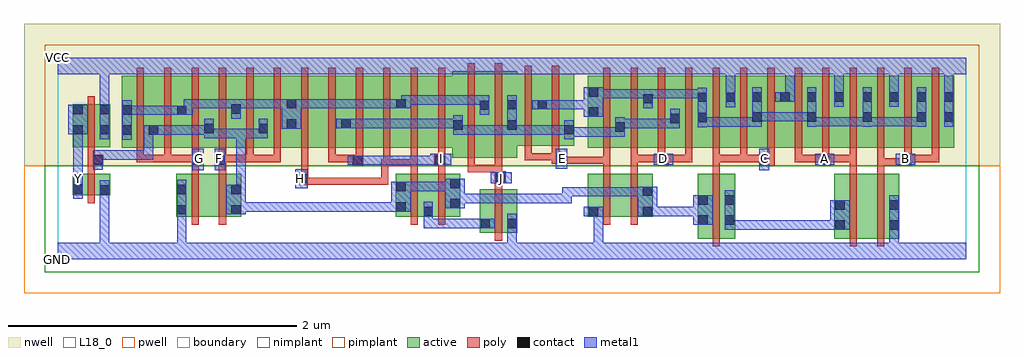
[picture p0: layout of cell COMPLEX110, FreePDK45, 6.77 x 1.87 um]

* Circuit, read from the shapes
.subckt COMPLEX110 A B C D E F G GND H I J VCC Y
M1 GND n1 Y VSUBS nfet w=0.15u l=0.05u
M2 n2 G GND VSUBS nfet w=0.3u l=0.05u
M3 n1 F n2 VSUBS nfet w=0.3u l=0.05u
M4 n3 H n1 VSUBS nfet w=0.3u l=0.05u
M5 n1 I n3 VSUBS nfet w=0.3u l=0.05u
M6 GND J n3 VSUBS nfet w=0.3u l=0.05u
M7 n4 E GND VSUBS nfet w=0.3u l=0.05u
M8 n1 D n4 VSUBS nfet w=0.3u l=0.05u
M9 n5 C n1 VSUBS nfet w=0.45u l=0.05u
M10 n6 A n5 VSUBS nfet w=0.45u l=0.05u
M11 GND B n6 VSUBS nfet w=0.45u l=0.05u
M12 VCC n1 Y n7 pfet w=0.3u l=0.05u
M13 n1 G n8 n7 pfet w=0.5u l=0.05u m=3
M14 n8 F n1 n7 pfet w=0.5u l=0.05u m=3
M15 n9 H n8 n7 pfet w=0.5u l=0.05u
M16 n10 I n9 n7 pfet w=0.5u l=0.05u
M17 n11 I n10 n7 pfet w=0.5u l=0.05u
M18 n8 H n11 n7 pfet w=0.5u l=0.05u
M19 n12 H n8 n7 pfet w=0.5u l=0.05u
M20 n10 I n12 n7 pfet w=0.5u l=0.05u
M21 n8 J n10 n7 pfet w=0.6u l=0.05u m=2
M22 n13 E n10 n7 pfet w=0.5u l=0.05u m=3
M23 n13 D n10 n7 pfet w=0.5u l=0.05u m=3
M24 VCC C n13 n7 pfet w=0.5u l=0.05u m=3
M25 n13 A VCC n7 pfet w=0.5u l=0.05u m=3
M26 VCC B n13 n7 pfet w=0.5u l=0.05u m=3
.ends

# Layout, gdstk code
import gdstk
lib = gdstk.Library(unit=1e-6, precision=1e-09)
def R(c, l, rs):  # rectangles x0, y0, x1, y1
    for r in rs: c.add(gdstk.rectangle(r[:2], r[2:], *l))
def A(c, l, x, y, w, h, nx, ny, dx, dy):  # array of equal rectangles
    R(c, l, [(x+i*dx, y+j*dy, x+i*dx+w, y+j*dy+h) for i in range(nx) for j in range(ny)])
active = (1, 0)
pwell = (2, 0)
nwell = (3, 0)
nimplant = (4, 0)
pimplant = (5, 0)
poly = (9, 0)
contact = (10, 0)
metal1 = (11, 0)
L18_0 = (18, 0)
boundary = (235, 0)

complex110 = lib.new_cell('COMPLEX110')
A(complex110, active, 1.582, 0.775, 0.225, 0.5, 3, 1, 0.38, 0)
A(complex110, active, 4.432, 0.807, 0.075, 0.393, 3, 1, 0.38, 0)
R(complex110, active, [(4.437,0.145,4.512,0.595), (4.437,0.145,4.697,0.595), (4.622,0.145,4.697,0.595), (5.387,0.145,5.612,0.595), (5.387,0.145,5.492,0.595), (5.612,0.145,5.837,0.595), (5.762,0.145,5.837,0.595), (2.927,0.185,3.187,0.485), (3.112,0.185,3.187,0.485), (2.927,0.212,3.002,0.485), (0.822,0.295,0.897,0.595), (0.822,0.295,1.047,0.595), (1.047,0.295,1.272,0.595), (1.197,0.295,1.272,0.595), (2.342,0.295,2.417,0.595), (2.342,0.295,2.607,0.595), (2.532,0.295,2.792,0.595), (2.532,0.295,2.607,0.497), (2.717,0.295,2.792,0.595), (3.677,0.295,3.752,0.595), (3.677,0.295,3.902,0.595), (3.902,0.295,4.127,0.595), (4.052,0.295,4.127,0.595), (0.102,0.445,0.177,0.595), (0.102,0.445,0.362,0.595), (0.287,0.445,0.362,0.595), (2.737,0.705,2.997,1.305), (2.922,0.705,3.187,1.305), (2.922,0.707,2.997,1.2), (0.442,0.775,0.702,1.275), (0.442,0.775,0.517,1.2), (0.627,0.775,0.897,1.275), (0.627,0.775,0.702,1.07), (0.822,0.775,1.087,1.275), (1.012,0.775,1.272,1.275), (1.197,0.775,1.462,1.275), (1.387,0.775,1.657,1.275), (1.807,0.775,2.037,1.275), (2.187,0.775,2.417,1.275), (2.567,0.775,2.812,1.275), (3.677,0.775,3.937,1.275), (3.677,0.775,3.752,1.2), (3.862,0.775,4.132,1.275), (4.057,0.775,4.317,1.275), (4.242,0.775,4.507,1.275), (4.432,0.775,4.702,1.275), (4.627,0.775,4.887,1.275), (4.812,0.775,5.082,1.275), (5.007,0.775,5.267,1.275), (5.192,0.775,5.457,1.275), (5.382,0.775,5.652,1.275), (5.577,0.775,5.837,1.275), (5.762,0.775,6.027,1.275), (5.952,0.775,6.217,1.275), (6.142,0.775,6.217,1.205), (0.102,0.777,0.177,1.077), (0.102,0.777,0.362,1.077), (0.287,0.777,0.362,1.077), (3.112,0.787,3.397,1.287), (3.322,0.787,3.582,1.287), (3.507,0.787,3.582,1.07), (0.822,0.807,0.897,1.2), (1.012,0.807,1.087,1.07), (1.197,0.807,1.272,1.2), (1.387,0.807,1.462,1.07), (1.582,0.807,1.657,1.2), (1.962,0.807,2.037,1.07), (2.342,0.807,2.417,1.2), (2.737,0.807,2.812,1.07), (3.112,0.807,3.187,1.2), (3.322,0.807,3.397,1.2), (3.862,0.807,3.937,1.07), (4.057,0.807,4.132,1.2), (4.242,0.807,4.317,1.07), (4.627,0.807,4.702,1.205), (5.007,0.807,5.082,1.205), (5.382,0.807,5.457,1.205), (5.577,0.807,5.652,1.2), (5.762,0.807,5.837,1.205), (5.952,0.807,6.027,1.2)])
R(complex110, pwell, [(-0.235,-0.235,6.535,0.65)])
R(complex110, nwell, [(-0.235,0.65,6.535,1.635)])
R(complex110, nimplant, [(-0.09,-0.09,6.39,0.65)])
R(complex110, pimplant, [(-0.09,0.65,6.39,1.49)])
A(complex110, poly, 0.547, 0.675, 0.05, 0.095, 6, 1, 0.19, 0)
A(complex110, poly, 3.972, 0.675, 0.05, 0.095, 9, 1, 0.19, 0)
A(complex110, poly, 0.547, 0.72, 0.05, 0.61, 12, 1, 0.19, 0)
A(complex110, poly, 3.782, 0.72, 0.05, 0.61, 13, 1, 0.19, 0)
R(complex110, poly, [(4.542,0.09,4.592,0.65), (5.492,0.09,5.542,0.65), (5.682,0.09,5.732,0.65), (3.032,0.13,3.082,0.54), (0.927,0.24,0.977,0.65), (1.117,0.24,1.167,0.65), (2.447,0.24,2.497,0.65), (2.637,0.24,2.687,0.65), (3.782,0.24,3.832,0.65), (3.972,0.24,4.022,0.65), (0.207,0.39,0.257,0.65), (3.032,0.49,3.082,0.585), (1.687,0.517,1.87,0.567), (1.687,0.517,1.737,0.572), (1.82,0.517,1.87,0.567), (1.82,0.517,1.87,0.567), (1.82,0.517,1.87,0.567), (1.82,0.517,2.16,0.567), (2.11,0.517,2.16,0.567), (2.11,0.517,2.16,0.567), (2.11,0.517,2.16,0.567), (2.11,0.517,2.292,0.567), (2.242,0.517,2.292,0.567), (2.242,0.517,2.292,0.567), (2.242,0.517,2.292,0.567), (2.242,0.517,2.292,0.695), (1.662,0.522,1.737,0.597), (1.687,0.522,1.737,0.572), (3.032,0.535,3.107,0.61), (1.687,0.547,1.737,0.77), (3.032,0.56,3.082,0.655), (0.207,0.6,0.257,0.702), (0.927,0.6,0.977,0.7), (1.117,0.6,1.167,0.7), (2.447,0.6,2.497,0.695), (2.637,0.6,2.687,0.7), (3.782,0.6,3.832,0.712), (3.972,0.6,4.022,0.725), (4.542,0.6,4.592,0.725), (5.492,0.6,5.542,0.725), (5.682,0.6,5.732,0.7), (2.842,0.605,2.892,0.7), (2.842,0.605,2.892,0.655), (2.842,0.605,2.892,0.655), (2.842,0.605,2.892,0.655), (2.842,0.605,3.082,0.655), (3.032,0.605,3.082,0.7), (3.032,0.605,3.082,0.655), (2.242,0.645,2.307,0.695), (2.257,0.645,2.497,0.695), (2.257,0.645,2.307,0.77), (2.447,0.645,2.497,0.695), (2.447,0.645,2.497,0.695), (2.447,0.645,2.497,0.695), (2.447,0.645,2.497,0.695), (2.447,0.645,2.497,0.695), (2.447,0.645,2.497,0.77), (0.927,0.65,1.002,0.725), (1.092,0.65,1.167,0.725), (2.042,0.65,2.117,0.725), (2.612,0.65,2.687,0.725), (2.637,0.65,2.687,0.7), (2.637,0.65,2.687,0.7), (2.842,0.65,2.892,1.36), (3.032,0.65,3.082,1.36), (4.162,0.65,4.237,0.725), (4.865,0.65,4.972,0.725), (5.282,0.65,5.357,0.725), (5.682,0.65,5.732,0.7), (5.682,0.65,5.732,0.7), (5.682,0.65,5.732,0.7), (5.682,0.65,5.892,0.7), (5.682,0.65,5.732,0.77), (5.842,0.65,5.892,0.7), (5.842,0.65,5.892,0.7), (5.842,0.65,5.922,0.725), (0.207,0.652,0.257,0.702), (0.207,0.652,0.257,0.702), (0.207,0.652,0.315,0.727), (3.427,0.662,3.525,0.737), (3.475,0.662,3.7,0.712), (3.65,0.662,3.7,0.712), (3.65,0.662,3.7,0.712), (3.65,0.662,3.7,0.712), (3.65,0.662,3.832,0.712), (3.782,0.662,3.832,0.712), (3.782,0.662,3.832,0.712), (3.782,0.662,3.832,0.712), (3.782,0.662,3.832,0.77), (0.547,0.675,0.597,0.725), (0.547,0.675,0.597,0.725), (0.547,0.675,0.597,0.725), (0.547,0.675,0.787,0.725), (0.737,0.675,0.787,0.725), (0.737,0.675,0.787,0.725), (0.737,0.675,0.787,0.725), (0.737,0.675,0.977,0.725), (0.927,0.675,0.977,0.725), (0.927,0.675,0.977,0.725), (1.117,0.675,1.167,0.725), (1.117,0.675,1.167,0.725), (1.117,0.675,1.357,0.725), (1.307,0.675,1.357,0.725), (1.307,0.675,1.357,0.725), (1.307,0.675,1.357,0.725), (1.307,0.675,1.547,0.725), (1.497,0.675,1.547,0.725), (1.497,0.675,1.547,0.725), (1.497,0.675,1.547,0.725), (1.877,0.675,1.927,0.77), (1.877,0.675,1.927,0.725), (1.877,0.675,2.092,0.725), (2.042,0.675,2.092,0.725), (2.042,0.675,2.092,0.725), (2.067,0.675,2.117,0.77), (2.637,0.675,2.687,0.77), (3.972,0.675,4.022,0.725), (3.972,0.675,4.022,0.725), (3.972,0.675,4.022,0.725), (3.972,0.675,4.022,0.725), (3.972,0.675,4.022,0.725), (3.972,0.675,4.212,0.725), (4.187,0.675,4.237,0.725), (4.187,0.675,4.237,0.725), (4.187,0.675,4.402,0.725), (4.352,0.675,4.402,0.725), (4.542,0.675,4.592,0.725), (4.542,0.675,4.592,0.725), (4.542,0.675,4.592,0.725), (4.542,0.675,4.782,0.725), (4.732,0.675,4.782,0.725), (4.732,0.675,4.782,0.725), (4.732,0.675,4.782,0.725), (4.732,0.675,4.915,0.725), (4.865,0.675,4.915,0.725), (4.865,0.675,4.915,0.725), (5.112,0.675,5.162,0.725), (5.112,0.675,5.332,0.725), (5.282,0.675,5.332,0.725), (5.282,0.675,5.332,0.725), (5.307,0.675,5.542,0.725), (5.492,0.675,5.542,0.725), (5.492,0.675,5.542,0.725), (5.492,0.675,5.542,0.725), (5.492,0.675,5.542,0.725), (5.492,0.675,5.542,0.725), (5.872,0.675,5.922,0.77), (5.872,0.675,6.112,0.725), (6.062,0.675,6.112,0.77), (6.062,0.675,6.112,0.725), (6.062,0.675,6.112,0.725), (6.062,0.675,6.112,0.725), (0.207,0.677,0.257,0.772), (3.237,0.687,3.287,0.782), (3.237,0.687,3.287,0.737), (3.237,0.687,3.477,0.737), (3.427,0.687,3.477,0.782), (3.427,0.687,3.477,0.737), (3.427,0.687,3.477,0.737), (0.207,0.722,0.257,1.132), (3.237,0.732,3.287,1.342), (3.427,0.732,3.477,1.342)])
A(complex110, contact, 5.767, 1.095, 0.065, 0.065, 3, 1, 0.19, 0)
R(complex110, contact, [(5.392,0.205,5.457,0.27), (5.767,0.205,5.832,0.27), (2.932,0.217,2.997,0.282), (3.117,0.217,3.182,0.282), (4.442,0.24,4.507,0.305), (4.627,0.24,4.692,0.305), (2.537,0.3,2.602,0.365), (3.682,0.3,3.747,0.365), (4.057,0.3,4.122,0.365), (0.827,0.312,0.892,0.377), (1.202,0.312,1.267,0.377), (2.347,0.332,2.412,0.397), (5.392,0.345,5.457,0.41), (5.767,0.345,5.832,0.41), (2.722,0.355,2.787,0.42), (4.442,0.38,4.507,0.445), (4.627,0.38,4.692,0.445), (4.057,0.44,4.122,0.505), (0.292,0.45,0.357,0.515), (0.827,0.452,0.892,0.517), (1.202,0.452,1.267,0.517), (0.107,0.457,0.172,0.522), (2.347,0.472,2.412,0.537), (2.722,0.495,2.787,0.56), (1.667,0.527,1.732,0.592), (3.037,0.54,3.102,0.605), (0.932,0.655,0.997,0.72), (1.097,0.655,1.162,0.72), (2.047,0.655,2.112,0.72), (2.617,0.655,2.682,0.72), (4.167,0.655,4.232,0.72), (4.87,0.655,4.935,0.72), (5.287,0.655,5.352,0.72), (5.847,0.655,5.912,0.72), (0.245,0.657,0.31,0.722), (3.455,0.667,3.52,0.732), (0.447,0.865,0.512,0.93), (0.632,0.865,0.697,0.93), (0.107,0.867,0.172,0.932), (0.292,0.867,0.357,0.932), (3.512,0.867,3.577,0.932), (1.017,0.875,1.082,0.94), (1.392,0.875,1.457,0.94), (3.867,0.887,3.932,0.952), (2.742,0.9,2.807,0.965), (3.117,0.9,3.182,0.965), (1.587,0.907,1.652,0.972), (1.967,0.91,2.032,0.975), (4.247,0.945,4.312,1.01), (4.437,0.952,4.502,1.017), (4.817,0.955,4.882,1.02), (5.197,0.955,5.262,1.02), (5.582,0.955,5.647,1.02), (5.957,0.955,6.022,1.02), (6.147,0.955,6.212,1.02), (3.682,0.99,3.747,1.055), (0.827,1.002,0.892,1.067), (0.447,1.005,0.512,1.07), (0.107,1.007,0.172,1.072), (0.292,1.007,0.357,1.072), (1.202,1.012,1.267,1.077), (2.927,1.037,2.992,1.102), (3.117,1.04,3.182,1.105), (3.327,1.04,3.392,1.105), (1.587,1.047,1.652,1.112), (2.347,1.047,2.412,1.112), (4.062,1.082,4.127,1.147), (4.437,1.092,4.502,1.157), (4.632,1.092,4.697,1.157), (4.817,1.095,4.882,1.16), (5.012,1.095,5.077,1.16), (5.197,1.095,5.262,1.16), (5.387,1.095,5.452,1.16), (5.582,1.095,5.647,1.16), (3.682,1.13,3.747,1.195)])
A(complex110, metal1, 5.387, 1.13, 0.065, 0.22, 3, 1, 0.38, 0)
R(complex110, metal1, [(0,0,6.3,0.115), (0.292,0.05,0.357,0.115), (0.292,0.05,0.357,0.115), (0.292,0.05,0.357,0.48), (0.827,0.05,0.892,0.115), (0.827,0.05,0.892,0.115), (0.827,0.05,0.892,0.342), (3.117,0.05,3.182,0.247), (3.717,0.05,3.782,0.115), (3.717,0.05,3.782,0.115), (3.717,0.05,3.782,0.365), (5.767,0.05,5.832,0.235), (5.767,0.17,5.832,0.445), (3.117,0.182,3.182,0.247), (3.117,0.182,3.182,0.247), (3.117,0.182,3.182,0.317), (4.627,0.205,4.692,0.48), (4.627,0.205,4.777,0.27), (4.712,0.205,4.777,0.27), (4.712,0.205,4.905,0.27), (4.84,0.205,4.905,0.27), (4.84,0.205,4.915,0.27), (4.85,0.205,4.915,0.27), (4.85,0.205,5.072,0.27), (5.007,0.205,5.072,0.27), (5.007,0.205,5.072,0.27), (5.007,0.205,5.072,0.27), (5.007,0.205,5.285,0.27), (5.22,0.205,5.285,0.27), (5.22,0.205,5.372,0.27), (5.307,0.205,5.372,0.27), (5.307,0.205,5.422,0.27), (5.357,0.205,5.492,0.41), (2.537,0.217,2.825,0.282), (2.537,0.217,2.602,0.33), (2.76,0.217,2.825,0.282), (2.76,0.217,2.825,0.282), (2.76,0.217,2.825,0.282), (2.76,0.217,2.962,0.282), (2.897,0.217,3.032,0.282), (4.407,0.24,4.542,0.445), (2.537,0.265,2.602,0.33), (2.537,0.265,2.602,0.4), (0.827,0.277,0.892,0.552), (3.647,0.3,3.782,0.365), (4.022,0.3,4.157,0.505), (4.092,0.3,4.295,0.365), (4.23,0.3,4.295,0.365), (4.23,0.3,4.295,0.365), (4.23,0.3,4.295,0.365), (4.23,0.3,4.45,0.365), (4.385,0.3,4.45,0.365), (4.385,0.3,4.472,0.365), (1.167,0.312,1.302,0.517), (1.237,0.332,1.412,0.397), (1.347,0.332,1.412,0.397), (1.347,0.332,1.44,0.397), (1.375,0.332,1.44,0.397), (1.375,0.332,1.55,0.397), (1.485,0.332,1.55,0.397), (1.485,0.332,1.722,0.397), (1.657,0.332,1.722,0.397), (1.657,0.332,1.722,0.397), (1.657,0.332,1.722,0.397), (1.657,0.332,1.86,0.397), (1.795,0.332,1.86,0.397), (1.795,0.332,1.86,0.397), (1.795,0.332,1.86,0.397), (1.795,0.332,1.997,0.397), (1.932,0.332,1.997,0.397), (1.932,0.332,1.997,0.397), (1.932,0.332,1.997,0.397), (1.932,0.332,2.205,0.397), (2.14,0.332,2.205,0.397), (2.14,0.332,2.285,0.397), (2.22,0.332,2.285,0.397), (2.22,0.332,2.377,0.397), (2.312,0.332,2.447,0.537), (2.687,0.355,2.822,0.56), (2.757,0.39,2.822,0.455), (2.757,0.39,2.822,0.455), (2.757,0.39,3.045,0.455), (2.98,0.39,3.045,0.455), (2.98,0.39,3.045,0.455), (2.98,0.39,3.045,0.455), (2.98,0.39,3.22,0.455), (3.155,0.39,3.22,0.455), (3.155,0.39,3.22,0.455), (3.155,0.39,3.22,0.455), (3.155,0.39,3.357,0.455), (3.292,0.39,3.357,0.455), (3.292,0.39,3.565,0.455), (3.5,0.39,3.565,0.455), (3.5,0.39,3.565,0.455), (3.5,0.39,3.565,0.502), (0.292,0.415,0.357,0.48), (0.292,0.415,0.357,0.48), (0.292,0.415,0.357,0.55), (0.107,0.422,0.172,0.557), (3.5,0.437,3.782,0.502), (3.717,0.437,3.782,0.502), (3.717,0.437,3.782,0.502), (3.717,0.437,3.782,0.502), (3.717,0.437,3.92,0.502), (3.855,0.437,3.92,0.502), (3.855,0.437,3.92,0.502), (3.855,0.437,3.92,0.502), (3.855,0.437,4.087,0.502), (1.237,0.452,1.302,0.905), (2.382,0.472,2.447,0.537), (2.382,0.472,2.447,0.537), (2.382,0.472,2.585,0.537), (2.52,0.472,2.585,0.537), (2.52,0.472,2.585,0.537), (2.52,0.472,2.585,0.537), (2.52,0.472,2.752,0.537), (0.107,0.492,0.172,0.557), (0.107,0.492,0.172,0.557), (0.107,0.492,0.172,0.557), (0.107,0.492,0.172,0.627), (1.647,0.492,1.732,0.627), (3.002,0.527,3.147,0.605), (0.107,0.562,0.172,0.932), (0.932,0.62,1.012,0.767), (1.087,0.62,1.162,0.767), (4.865,0.62,4.935,0.767), (0.245,0.622,0.31,0.757), (3.455,0.63,3.532,0.767), (2.012,0.655,2.147,0.72), (2.082,0.655,2.24,0.72), (2.175,0.655,2.24,0.72), (2.175,0.655,2.285,0.72), (2.22,0.655,2.285,0.72), (2.22,0.655,2.447,0.72), (2.382,0.655,2.447,0.72), (2.382,0.655,2.447,0.72), (2.382,0.655,2.447,0.72), (2.382,0.655,2.585,0.72), (2.52,0.655,2.585,0.72), (2.52,0.655,2.647,0.72), (2.582,0.655,2.727,0.732), (4.132,0.655,4.267,0.732), (5.252,0.655,5.387,0.732), (5.812,0.655,5.947,0.732), (0.245,0.692,0.447,0.757), (0.382,0.692,0.447,0.757), (0.382,0.692,0.447,0.757), (0.382,0.692,0.447,0.757), (0.382,0.692,0.662,0.757), (0.597,0.692,0.662,0.757), (0.597,0.692,0.662,0.757), (0.597,0.692,0.662,0.757), (0.597,0.692,0.662,0.93), (0.447,0.83,0.512,1.105), (0.292,0.832,0.357,1.107), (3.512,0.832,3.577,0.967), (1.017,0.84,1.082,0.905), (1.017,0.84,1.082,0.905), (1.017,0.84,1.082,0.975), (1.017,0.84,1.302,0.905), (1.237,0.84,1.302,0.905), (1.237,0.84,1.302,0.905), (1.237,0.84,1.302,0.905), (1.237,0.84,1.302,0.905), (1.237,0.84,1.302,0.905), (1.237,0.84,1.302,0.905), (1.237,0.84,1.302,0.905), (1.237,0.84,1.405,0.905), (1.34,0.84,1.405,0.905), (1.34,0.84,1.457,0.905), (1.392,0.84,1.457,0.975), (3.512,0.852,3.715,0.917), (3.65,0.852,3.715,0.917), (3.65,0.852,3.715,0.917), (3.65,0.852,3.715,0.917), (3.65,0.852,3.932,0.917), (3.867,0.852,3.932,0.987), (0.597,0.865,0.732,0.93), (0.655,0.865,0.72,0.93), (0.655,0.865,0.72,0.93), (0.655,0.865,0.8,0.93), (0.735,0.865,0.8,0.93), (0.735,0.865,0.945,0.93), (0.88,0.865,0.945,0.93), (0.88,0.865,0.945,0.93), (0.88,0.865,0.945,0.93), (0.88,0.865,1.082,0.93), (2.742,0.865,2.807,0.93), (2.742,0.865,2.807,0.93), (2.742,0.865,2.807,1), (2.742,0.865,3.045,0.93), (2.98,0.865,3.045,0.93), (2.98,0.865,3.045,0.93), (2.98,0.865,3.045,0.93), (2.98,0.865,3.182,0.93), (3.117,0.865,3.182,1.14), (3.117,0.865,3.182,0.93), (3.117,0.865,3.182,0.93), (3.117,0.865,3.427,0.93), (3.362,0.865,3.427,0.93), (3.362,0.865,3.427,0.93), (3.362,0.865,3.427,0.93), (3.362,0.865,3.577,0.93), (0.072,0.867,0.207,1.072), (1.552,0.907,1.687,1.112), (1.932,0.91,2.067,0.975), (2.002,0.91,2.067,0.975), (2.002,0.91,2.067,0.975), (2.002,0.91,2.24,0.975), (2.175,0.91,2.24,0.975), (2.175,0.91,2.285,0.975), (2.22,0.91,2.285,0.975), (2.22,0.91,2.422,0.975), (2.357,0.91,2.422,0.975), (2.357,0.91,2.422,0.975), (2.357,0.91,2.422,0.975), (2.357,0.91,2.585,0.975), (2.52,0.91,2.585,0.975), (2.52,0.91,2.585,0.975), (2.52,0.91,2.585,0.975), (2.52,0.91,2.807,0.975), (3.867,0.91,3.932,0.975), (3.867,0.91,3.932,0.975), (3.867,0.91,4.07,0.975), (4.005,0.91,4.07,0.975), (4.005,0.91,4.312,0.975), (4.247,0.91,4.312,0.975), (4.247,0.91,4.312,0.975), (4.247,0.91,4.312,1.045), (4.437,0.917,4.502,1.192), (4.437,0.92,4.64,0.985), (4.575,0.92,4.64,0.985), (4.575,0.92,4.64,0.985), (4.575,0.92,4.64,0.985), (4.575,0.92,4.777,0.985), (4.712,0.92,4.777,0.985), (4.712,0.92,4.882,0.985), (4.817,0.92,4.882,1.195), (5.197,0.92,5.262,1.195), (5.582,0.92,5.647,1.195), (5.957,0.92,6.022,1.195), (6.147,0.92,6.212,1.195), (5.197,0.922,5.262,0.987), (5.197,0.922,5.262,0.987), (5.197,0.922,5.51,0.987), (5.445,0.922,5.51,0.987), (5.445,0.922,5.51,0.987), (5.445,0.922,5.51,0.987), (5.445,0.922,5.647,0.987), (5.582,0.922,5.647,0.987), (5.582,0.922,5.647,0.987), (5.582,0.922,5.885,0.987), (5.82,0.922,5.885,0.987), (5.82,0.922,6.022,0.987), (5.957,0.922,6.022,0.987), (5.957,0.922,6.022,0.987), (4.817,0.957,4.915,1.022), (4.85,0.957,4.915,1.022), (4.85,0.957,5.125,1.022), (5.06,0.957,5.125,1.022), (5.06,0.957,5.125,1.022), (5.06,0.957,5.125,1.022), (5.06,0.957,5.262,1.022), (1.202,0.977,1.267,1.112), (3.647,0.99,3.782,1.195), (0.447,1.002,0.662,1.067), (0.597,1.002,0.662,1.067), (0.597,1.002,0.662,1.067), (0.597,1.002,0.662,1.067), (0.597,1.002,0.8,1.067), (0.735,1.002,0.8,1.067), (0.735,1.002,0.857,1.067), (0.792,1.002,0.927,1.067), (0.862,1.002,0.937,1.067), (0.872,1.002,0.937,1.112), (2.927,1.002,2.992,1.137), (3.292,1.04,3.427,1.105), (3.362,1.04,3.575,1.105), (3.51,1.04,3.575,1.105), (3.51,1.04,3.575,1.105), (3.51,1.04,3.575,1.105), (3.51,1.04,3.712,1.105), (0.292,1.042,0.357,1.107), (0.292,1.042,0.357,1.107), (0.292,1.042,0.357,1.35), (0.872,1.047,1.095,1.112), (1.03,1.047,1.095,1.112), (1.03,1.047,1.267,1.112), (1.202,1.047,1.267,1.112), (1.202,1.047,1.267,1.112), (1.202,1.047,1.412,1.112), (1.347,1.047,1.412,1.112), (1.347,1.047,1.44,1.112), (1.375,1.047,1.44,1.112), (1.375,1.047,1.55,1.112), (1.485,1.047,1.55,1.112), (1.485,1.047,1.617,1.112), (1.622,1.047,1.687,1.112), (1.622,1.047,1.687,1.112), (1.622,1.047,1.86,1.112), (1.795,1.047,1.86,1.112), (1.795,1.047,1.86,1.112), (1.795,1.047,1.86,1.112), (1.795,1.047,1.997,1.112), (1.932,1.047,1.997,1.112), (1.932,1.047,1.997,1.112), (1.932,1.047,1.997,1.112), (1.932,1.047,2.205,1.112), (2.14,1.047,2.205,1.112), (2.14,1.047,2.285,1.112), (2.22,1.047,2.285,1.112), (2.22,1.047,2.377,1.112), (2.312,1.047,2.447,1.112), (2.382,1.047,2.447,1.112), (2.382,1.047,2.447,1.137), (4.062,1.047,4.127,1.182), (4.632,1.057,4.697,1.192), (5.387,1.06,5.452,1.195), (5.767,1.06,5.832,1.195), (2.382,1.072,2.615,1.137), (2.55,1.072,2.615,1.137), (2.55,1.072,2.615,1.137), (2.55,1.072,2.615,1.137), (2.55,1.072,2.752,1.137), (2.687,1.072,2.752,1.137), (2.687,1.072,2.752,1.137), (2.687,1.072,2.752,1.137), (2.687,1.072,2.992,1.137), (4.977,1.095,5.112,1.16), (5.047,1.095,5.112,1.35), (3.717,1.117,3.782,1.182), (3.717,1.117,3.782,1.182), (3.717,1.117,3.92,1.182), (3.855,1.117,3.92,1.182), (3.855,1.117,3.92,1.182), (3.855,1.117,3.92,1.182), (3.855,1.117,4.127,1.182), (4.062,1.117,4.127,1.182), (4.062,1.117,4.127,1.182), (4.062,1.117,4.335,1.182), (4.27,1.117,4.335,1.182), (4.27,1.117,4.502,1.182), (4.437,1.117,4.502,1.182), (4.437,1.117,4.502,1.182), (4.632,1.127,4.697,1.35), (0,1.285,6.3,1.4)])
A(complex110, L18_0, 3.467, 0.667, 0.065, 0.065, 3, 1, 0.7, 0)
A(complex110, L18_0, 5.387, 1.13, 0.065, 0.22, 3, 1, 0.38, 0)
R(complex110, L18_0, [(0,0,6.3,0.115), (0.292,0.05,0.357,0.115), (0.292,0.05,0.357,0.115), (0.292,0.05,0.357,0.48), (0.827,0.05,0.892,0.115), (0.827,0.05,0.892,0.115), (0.827,0.05,0.892,0.342), (3.117,0.05,3.182,0.247), (3.717,0.05,3.782,0.115), (3.717,0.05,3.782,0.115), (3.717,0.05,3.782,0.365), (5.767,0.05,5.832,0.235), (5.767,0.17,5.832,0.445), (3.117,0.182,3.182,0.317), (3.117,0.182,3.182,0.247), (3.117,0.182,3.182,0.247), (0.827,0.277,0.892,0.552), (3.647,0.3,3.782,0.365), (0.292,0.415,0.357,0.55), (0.292,0.415,0.357,0.48), (0.292,0.415,0.357,0.48), (0.107,0.422,0.172,0.557), (0.107,0.492,0.172,0.627), (0.107,0.492,0.172,0.557), (0.107,0.492,0.172,0.557), (0.107,0.492,0.172,0.557), (1.647,0.492,1.732,0.627), (0.107,0.527,0.172,0.592), (1.647,0.527,1.712,0.592), (3.002,0.527,3.147,0.605), (3.047,0.527,3.112,0.592), (0.107,0.562,0.172,0.932), (0.932,0.62,1.012,0.767), (1.087,0.62,1.162,0.767), (4.865,0.62,4.935,0.767), (3.455,0.63,3.532,0.767), (2.012,0.655,2.147,0.72), (2.082,0.655,2.24,0.72), (2.175,0.655,2.24,0.72), (2.175,0.655,2.285,0.72), (2.22,0.655,2.285,0.72), (2.22,0.655,2.447,0.72), (2.382,0.655,2.447,0.72), (2.382,0.655,2.447,0.72), (2.382,0.655,2.447,0.72), (2.382,0.655,2.585,0.72), (2.52,0.655,2.585,0.72), (2.52,0.655,2.647,0.72), (2.582,0.655,2.727,0.732), (4.132,0.655,4.267,0.732), (5.252,0.655,5.387,0.732), (5.812,0.655,5.947,0.732), (0.947,0.667,1.012,0.732), (1.087,0.667,1.152,0.732), (2.627,0.667,2.692,0.732), (5.287,0.667,5.352,0.732), (5.847,0.667,5.912,0.732), (0.292,0.832,0.357,1.107), (0.072,0.867,0.207,1.072), (6.147,0.92,6.212,1.195), (0.292,1.042,0.357,1.107), (0.292,1.042,0.357,1.107), (0.292,1.042,0.357,1.35), (4.632,1.057,4.697,1.192), (5.387,1.06,5.452,1.195), (5.767,1.06,5.832,1.195), (4.977,1.095,5.112,1.16), (5.047,1.095,5.112,1.35), (4.632,1.127,4.697,1.35), (0,1.285,6.3,1.4)])
R(complex110, boundary, [(0,0,6.3,1.4)])
complex110.add(gdstk.Label('A', (5.32,0.7), layer=11, texttype=0))
complex110.add(gdstk.Label('B', (5.88,0.7), layer=11, texttype=0))
complex110.add(gdstk.Label('C', (4.9,0.7), layer=11, texttype=0))
complex110.add(gdstk.Label('D', (4.2,0.7), layer=11, texttype=0))
complex110.add(gdstk.Label('E', (3.5,0.7), layer=11, texttype=0))
complex110.add(gdstk.Label('F', (1.12,0.7), layer=11, texttype=0))
complex110.add(gdstk.Label('G', (0.98,0.7), layer=11, texttype=0))
complex110.add(gdstk.Label('H', (1.68,0.56), layer=11, texttype=0))
complex110.add(gdstk.Label('I', (2.66,0.7), layer=11, texttype=0))
complex110.add(gdstk.Label('J', (3.08,0.56), layer=11, texttype=0))
complex110.add(gdstk.Label('Y', (0.14,0.56), layer=11, texttype=0))
complex110.add(gdstk.Label('VCC', (0,1.4), layer=11, texttype=0))
complex110.add(gdstk.Label('GND', (0,0), layer=11, texttype=0))

lib.write_gds('COMPLEX110.gds')
